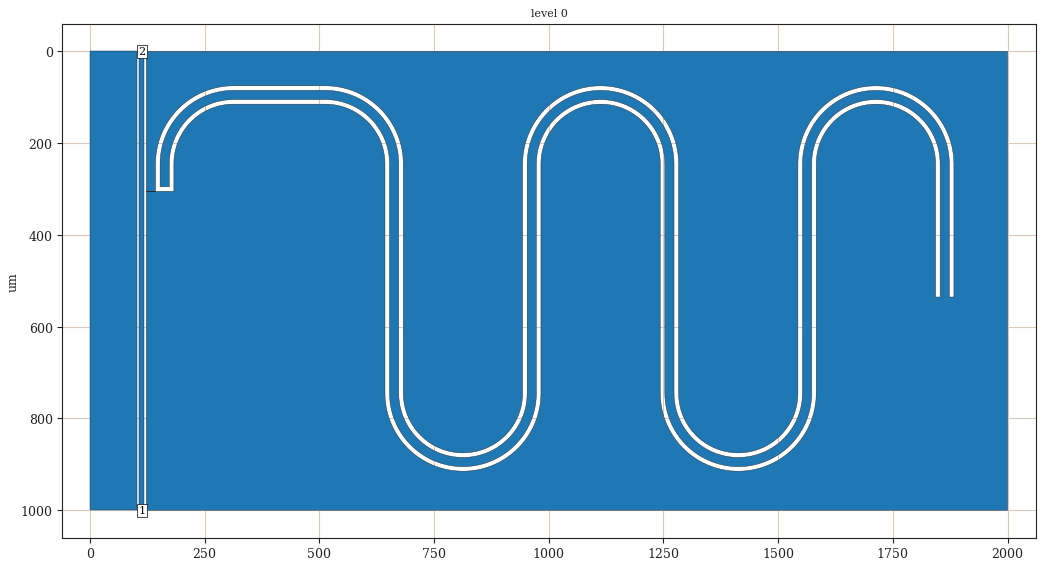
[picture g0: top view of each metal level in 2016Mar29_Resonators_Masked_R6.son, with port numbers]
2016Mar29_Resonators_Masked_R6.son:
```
FTYP SONPROJ 15 ! Sonnet Project File
VER 16.52
HEADER
LIC calt2.2.43068 b4ae2bd1247e DESKTOP-SL82IK9 Michael
DAT 04/05/2016 02:53:07
BUILT_BY_CREATED xgeom 16.52 03/26/2016 21:21:12
BUILT_BY_SAVED xgeom 16.52
MDATE 04/05/2016 02:53:07
HDATE 04/05/2016 02:52:58
END HEADER
DIM
FREQ GHZ
IND NH
LNG UM
ANG DEG
CON /OH
CAP PF
RES OH
END DIM
FREQ
ABS 5.8 6.0 
END FREQ
CONTROL
ABS
OPTIONS  -d 
SPEED 0
CACHE_ABS 1
TARG_ABS 300
Q_ACC N
DET_ABS_RES Y
END CONTROL
GEO
TMET "Lossless" 0 SUP 0 0 0 0
BMET "Lossless" 0 SUP 0 0 0 0
BOX 1 2001 1000 1334 500 20 0
      1000 1 1 0 0 0 0 "Air"
      500 11.9 1 5e-006 0 0 0 "Silicon (intrinsic)"
LORGN 0 1000 U 
POR1 STD
POLY 28 1
4
1 50 0 0 0 113 1000 
POR1 STD
POLY 28 1
1
2 50 0 0 0 113 3.938180912e-006 
NUM 3
0 8 -1 N 21 1 1 100 100 0 0 0 Y
103 905
103 905
103 905
103 -4.405170364e-006
-3.568185697e-005 -4.405170364e-006
-3.568185697e-005 1000
103 1000
103 905
END
0 1224 -1 N 27 1 1 100 100 0 0 0 Y
2000.000105 -3.489520145e-006
123 -3.489520145e-006
123 305
143 305
143 245
143.09 239.55
143.35 234.11
143.79 228.68
144.4 223.26
145.18 217.87
146.14 212.5
147.26 207.17
148.56 201.88
150.03 196.63
151.66 191.43
153.46 186.29
155.42 181.2
157.55 176.19
159.84 171.24
162.28 166.37
164.88 161.58
167.63 156.87
170.53 152.26
173.57 147.74
176.76 143.32
180.09 139.01
183.55 134.8
187.15 130.71
190.88 126.73
194.73 122.88
198.71 119.15
202.8 115.55
207.01 112.09
211.32 108.76
215.74 105.57
220.26 102.53
224.87 99.63
229.58 96.88
234.37 94.28
239.24 91.83
244.19 89.55
249.2 87.42
254.29 85.46
259.43 83.66
264.63 82.03
269.88 80.56
275.17 79.26
280.5 78.13
285.87 77.18
291.26 76.4
296.68 75.79
302.11 75.35
307.55 75.09
313 75
513 75
518.45 75.09
523.89 75.35
529.32 75.79
534.74 76.4
540.13 77.18
545.5 78.13
550.83 79.26
556.12 80.56
561.37 82.03
566.57 83.66
571.71 85.46
576.8 87.42
581.81 89.55
586.76 91.83
591.63 94.28
596.42 96.88
601.13 99.63
605.74 102.53
610.26 105.57
614.68 108.76
618.99 112.09
623.2 115.55
627.29 119.15
631.27 122.88
635.12 126.73
638.85 130.71
642.45 134.8
645.91 139.01
649.24 143.32
652.43 147.74
655.48 152.26
658.37 156.87
661.12 161.58
663.72 166.37
666.17 171.24
668.45 176.19
670.58 181.2
672.54 186.29
674.34 191.43
675.97 196.63
677.44 201.88
678.74 207.17
679.86 212.5
680.82 217.87
681.6 223.26
682.21 228.68
682.65 234.11
682.91 239.55
683 245
683 745
683.27 753.33
684.07 761.62
685.4 769.85
687.25 777.97
689.62 785.96
692.5 793.79
695.87 801.4
699.73 808.79
704.05 815.92
708.82 822.75
714.01 829.27
719.61 835.44
725.6 841.24
731.95 846.64
738.63 851.62
745.61 856.17
752.87 860.26
760.38 863.87
768.1 867
776.01 869.63
784.07 871.74
792.25 873.33
800.52 874.4
808.83 874.93
817.17 874.93
825.48 874.4
833.75 873.33
841.93 871.74
849.99 869.63
857.9 867
865.62 863.87
873.13 860.26
880.39 856.17
887.38 851.62
894.05 846.64
900.4 841.24
906.39 835.44
911.99 829.27
917.18 822.75
921.95 815.92
926.27 808.79
930.13 801.4
933.5 793.79
936.38 785.96
938.75 777.97
940.6 769.85
941.93 761.62
942.73 753.33
943 745
943 245
943.35 234.11
944.4 223.26
946.14 212.5
948.56 201.88
951.66 191.43
955.42 181.2
959.84 171.24
964.88 161.58
970.53 152.26
976.76 143.32
983.55 134.8
990.88 126.73
998.71 119.15
1007.01 112.09
1012.21 108.2
1015.74 105.57
1024.87 99.63
1034.37 94.28
1044.19 89.55
1054.29 85.46
1064.63 82.03
1075.17 79.26
1085.87 77.18
1096.68 75.79
1107.55 75.09
1118.45 75.09
1129.32 75.79
1140.13 77.18
1150.83 79.26
1161.37 82.03
1171.71 85.46
1181.81 89.55
1191.63 94.28
1201.13 99.63
1210.26 105.57
1218.99 112.09
1227.29 119.15
1235.12 126.73
1242.45 134.8
1249.24 143.32
1255.48 152.26
1261.12 161.58
1266.17 171.24
1270.58 181.2
1274.34 191.43
1277.44 201.88
1279.86 212.5
1281.6 223.26
1282.65 234.11
1283 245
1283 745
1283.27 753.33
1284.07 761.62
1285.4 769.85
1287.25 777.97
1289.62 785.96
1292.5 793.79
1295.87 801.4
1299.73 808.79
1304.05 815.92
1308.82 822.75
1314.01 829.27
1319.61 835.44
1325.6 841.24
1331.95 846.64
1338.63 851.62
1345.61 856.17
1352.87 860.26
1360.38 863.87
1368.1 867
1376.01 869.63
1384.07 871.74
1392.25 873.33
1400.52 874.4
1408.83 874.93
1417.17 874.93
1425.48 874.4
1433.75 873.33
1441.93 871.74
1449.99 869.63
1457.9 867
1465.62 863.87
1473.13 860.26
1480.39 856.17
1487.38 851.62
1494.05 846.64
1500.4 841.24
1506.39 835.44
1511.99 829.27
1517.18 822.75
1521.95 815.92
1526.27 808.79
1530.13 801.4
1533.5 793.79
1536.38 785.96
1538.75 777.97
1540.6 769.85
1541.93 761.62
1542.73 753.33
1543 745
1543 245
1543.35 234.11
1544.4 223.26
1546.14 212.5
1548.56 201.88
1551.66 191.43
1555.42 181.2
1559.84 171.24
1564.88 161.58
1570.53 152.26
1576.76 143.32
1583.55 134.8
1590.88 126.73
1598.71 119.15
1607.01 112.09
1615.74 105.57
1624.87 99.63
1634.37 94.28
1644.19 89.55
1654.29 85.46
1664.63 82.03
1675.17 79.26
1685.87 77.18
1696.68 75.79
1707.55 75.09
1718.45 75.09
1729.32 75.79
1740.13 77.18
1750.83 79.26
1761.37 82.03
1771.71 85.46
1781.81 89.55
1791.63 94.28
1801.13 99.63
1810.26 105.57
1818.99 112.09
1827.29 119.15
1835.12 126.73
1842.45 134.8
1849.24 143.32
1855.48 152.26
1861.12 161.58
1866.17 171.24
1870.58 181.2
1874.34 191.43
1877.44 201.88
1879.86 212.5
1881.6 223.26
1882.65 234.11
1883 245
1883 535.34
1873 535.34
1873 245
1872.67 234.75
1871.69 224.54
1870.05 214.41
1867.77 204.41
1864.85 194.58
1861.31 184.96
1857.15 175.58
1852.41 166.48
1847.09 157.71
1841.23 149.3
1834.83 141.28
1827.94 133.69
1820.57 126.56
1812.76 119.91
1804.54 113.77
1795.94 108.18
1787.01 103.14
1777.77 98.69
1768.26 94.84
1758.52 91.61
1748.6 89.01
1738.54 87.05
1728.36 85.74
1718.13 85.08
1707.87 85.08
1697.64 85.74
1687.46 87.05
1677.4 89.01
1667.48 91.61
1657.74 94.84
1648.23 98.69
1638.99 103.14
1630.06 108.18
1621.46 113.77
1613.24 119.91
1605.43 126.56
1598.06 133.69
1591.17 141.28
1584.77 149.3
1578.91 157.71
1573.59 166.48
1568.85 175.58
1564.69 184.96
1561.15 194.58
1558.23 204.41
1555.95 214.41
1554.31 224.54
1553.33 234.75
1553 245
1553 745
1552.71 753.97
1551.85 762.9
1550.42 771.76
1548.42 780.51
1545.87 789.11
1542.77 797.54
1539.14 805.74
1534.98 813.7
1530.33 821.37
1525.2 828.73
1519.6 835.75
1513.57 842.4
1507.12 848.64
1500.29 854.46
1493.1 859.82
1485.57 864.72
1477.76 869.12
1469.67 873.02
1461.35 876.39
1452.83 879.21
1444.15 881.49
1435.34 883.2
1426.44 884.35
1417.49 884.93
1408.51 884.93
1399.56 884.35
1390.66 883.2
1381.85 881.49
1373.17 879.21
1364.65 876.39
1356.33 873.02
1348.24 869.12
1340.43 864.72
1332.9 859.82
1325.71 854.46
1318.88 848.64
1312.43 842.4
1306.4 835.75
1300.8 828.73
1295.67 821.37
1291.02 813.7
1286.86 805.74
1283.23 797.54
1280.13 789.11
1277.58 780.51
1275.58 771.76
1274.15 762.9
1273.29 753.97
1273 745
1273 245
1272.67 234.75
1271.69 224.54
1270.05 214.41
1267.77 204.41
1264.85 194.58
1261.31 184.96
1257.15 175.58
1252.41 166.48
1247.09 157.71
1241.23 149.3
1234.83 141.28
1227.94 133.69
1220.57 126.56
1212.76 119.91
1204.54 113.77
1195.94 108.18
1187.01 103.14
1177.77 98.69
1168.26 94.84
1158.52 91.61
1148.6 89.01
1138.54 87.05
1128.36 85.74
1118.13 85.08
1107.87 85.08
1097.64 85.74
1087.46 87.05
1077.4 89.01
1067.48 91.61
1057.74 94.84
1048.23 98.69
1038.99 103.14
1030.06 108.18
1021.46 113.77
1013.24 119.91
1012.21 120.78
1005.43 126.56
998.06 133.69
991.17 141.28
984.77 149.3
978.91 157.71
973.59 166.48
968.85 175.58
964.69 184.96
961.15 194.58
958.23 204.41
955.95 214.41
954.31 224.54
953.33 234.75
953 245
953 745
952.71 753.97
951.85 762.9
950.42 771.76
948.42 780.51
945.87 789.11
942.77 797.54
939.14 805.74
934.98 813.7
930.33 821.37
925.2 828.73
919.6 835.75
913.57 842.4
907.12 848.64
900.29 854.46
893.1 859.82
885.57 864.72
877.76 869.12
869.67 873.02
861.35 876.39
852.83 879.21
844.15 881.49
835.34 883.2
826.44 884.35
817.49 884.93
808.51 884.93
799.56 884.35
790.66 883.2
781.85 881.49
773.17 879.21
764.65 876.39
756.33 873.02
748.24 869.12
740.43 864.72
732.9 859.82
725.71 854.46
718.88 848.64
712.43 842.4
706.4 835.75
700.8 828.73
695.67 821.37
691.02 813.7
686.86 805.74
683.23 797.54
680.13 789.11
677.58 780.51
675.58 771.76
674.15 762.9
673.29 753.97
673 745
673 245
672.92 239.87
672.67 234.75
672.26 229.64
671.69 224.54
670.95 219.46
670.05 214.41
668.99 209.4
667.77 204.41
666.39 199.48
664.85 194.58
663.15 189.74
661.31 184.96
659.31 180.23
657.15 175.58
654.86 170.99
652.41 166.48
649.82 162.06
647.09 157.71
644.23 153.46
641.23 149.3
638.09 145.24
634.83 141.28
631.44 137.43
627.94 133.69
624.31 130.06
620.57 126.56
616.72 123.17
612.76 119.91
608.7 116.77
604.54 113.77
600.29 110.91
595.94 108.18
591.52 105.59
587.01 103.14
582.42 100.84
577.77 98.69
573.04 96.69
568.26 94.84
563.42 93.15
558.52 91.61
553.59 90.23
548.6 89.01
543.59 87.95
538.54 87.05
533.46 86.31
528.36 85.74
523.25 85.33
518.13 85.08
513 85
313 85
307.87 85.08
302.75 85.33
297.64 85.74
292.54 86.31
287.46 87.05
282.42 87.95
277.4 89.01
272.42 90.23
267.48 91.61
262.58 93.15
257.74 94.84
252.96 96.69
248.24 98.69
243.58 100.84
238.99 103.14
234.49 105.59
230.06 108.18
225.71 110.91
221.46 113.77
217.3 116.77
213.24 119.91
209.28 123.17
205.43 126.56
201.69 130.06
198.06 133.69
194.56 137.43
191.17 141.28
187.91 145.24
184.77 149.3
181.77 153.46
178.91 157.71
176.18 162.06
173.59 166.48
171.14 170.99
168.85 175.58
166.69 180.23
164.69 184.96
162.85 189.74
161.15 194.58
159.61 199.48
158.23 204.41
157.01 209.4
155.95 214.41
155.05 219.46
154.31 224.54
153.74 229.64
153.33 234.75
153.08 239.87
153 245
153 295
173 295
173 245
173.07 240.51
173.29 236.03
173.65 231.56
174.15 227.1
174.8 222.66
175.58 218.24
176.51 213.85
177.58 209.49
178.79 205.17
180.13 200.88
181.61 196.65
183.23 192.46
184.98 188.33
186.86 184.26
188.88 180.24
191.01 176.3
193.28 172.42
195.67 168.62
198.18 164.9
200.8 161.26
203.54 157.71
206.4 154.25
209.36 150.88
212.43 147.6
215.6 144.43
218.88 141.36
222.25 138.4
225.71 135.54
229.26 132.8
232.9 130.18
236.63 127.67
240.43 125.28
244.3 123.01
248.24 120.88
252.26 118.86
256.33 116.98
260.46 115.23
264.65 113.61
268.89 112.13
273.17 110.79
277.49 109.58
281.85 108.51
286.24 107.58
290.66 106.8
295.1 106.15
299.56 105.65
304.03 105.29
308.51 105.07
313 105
513 105
517.49 105.07
521.97 105.29
526.44 105.65
530.9 106.15
535.34 106.8
539.76 107.58
544.15 108.51
548.51 109.58
552.83 110.79
557.11 112.13
561.35 113.61
565.54 115.23
569.67 116.98
573.74 118.86
577.76 120.88
581.7 123.01
585.57 125.28
589.38 127.67
593.1 130.18
596.73 132.8
600.29 135.54
603.75 138.4
607.12 141.36
610.4 144.43
613.57 147.6
616.64 150.88
619.6 154.25
622.46 157.71
625.2 161.26
627.82 164.9
630.33 168.62
632.72 172.42
634.98 176.3
637.12 180.24
639.14 184.26
641.02 188.33
642.77 192.46
644.39 196.65
645.87 200.88
647.21 205.17
648.42 209.49
649.49 213.85
650.42 218.24
651.2 222.66
651.85 227.1
652.35 231.56
652.71 236.03
652.93 240.51
653 245
653 745
653.33 755.25
654.31 765.46
655.95 775.58
658.23 785.58
661.15 795.42
664.69 805.04
668.85 814.42
673.59 823.51
678.91 832.29
684.77 840.7
691.17 848.72
698.06 856.31
705.43 863.44
713.24 870.09
721.46 876.23
730.06 881.82
738.99 886.86
748.23 891.31
757.74 895.15
767.48 898.39
777.4 900.99
787.46 902.95
797.64 904.26
807.87 904.92
818.13 904.92
828.36 904.26
838.54 902.95
848.6 900.99
858.52 898.39
868.26 895.15
877.77 891.31
887.01 886.86
895.94 881.82
904.54 876.23
912.76 870.09
920.57 863.44
927.94 856.31
934.83 848.72
941.23 840.7
947.09 832.29
952.41 823.51
957.15 814.42
961.31 805.04
964.85 795.42
967.77 785.58
970.05 775.58
971.69 765.46
972.67 755.25
973 745
973 245
973.29 236.03
974.15 227.1
975.58 218.24
977.58 209.49
980.13 200.88
983.23 192.46
986.86 184.26
991.02 176.3
995.67 168.62
1000.8 161.26
1006.4 154.25
1012.21 147.84
1012.43 147.6
1018.88 141.36
1025.71 135.54
1032.9 130.18
1040.43 125.28
1048.24 120.88
1056.33 116.98
1064.65 113.61
1073.17 110.79
1081.85 108.51
1090.66 106.8
1099.56 105.65
1108.51 105.07
1117.49 105.07
1126.44 105.65
1135.34 106.8
1144.15 108.51
1152.83 110.79
1161.35 113.61
1169.67 116.98
1177.76 120.88
1185.57 125.28
1193.1 130.18
1200.29 135.54
1207.12 141.36
1213.57 147.6
1219.6 154.25
1225.2 161.26
1230.33 168.62
1234.98 176.3
1239.14 184.26
1242.77 192.46
1245.87 200.88
1248.42 209.49
1250.42 218.24
1251.85 227.1
1252.71 236.03
1253 245
1253 745
1253.33 755.25
1254.31 765.46
1255.95 775.58
1258.23 785.58
1261.15 795.42
1264.69 805.04
1268.85 814.42
1273.59 823.51
1278.91 832.29
1284.77 840.7
1291.17 848.72
1298.06 856.31
1305.43 863.44
1313.24 870.09
1321.46 876.23
1330.06 881.82
1338.99 886.86
1348.23 891.31
1357.74 895.15
1367.48 898.39
1377.4 900.99
1387.46 902.95
1397.64 904.26
1407.87 904.92
1418.13 904.92
1428.36 904.26
1438.54 902.95
1448.6 900.99
1458.52 898.39
1468.26 895.15
1477.77 891.31
1487.01 886.86
1495.94 881.82
1504.54 876.23
1512.76 870.09
1520.57 863.44
1527.94 856.31
1534.83 848.72
1541.23 840.7
1547.09 832.29
1552.41 823.51
1557.15 814.42
1561.31 805.04
1564.85 795.42
1567.77 785.58
1570.05 775.58
1571.69 765.46
1572.67 755.25
1573 745
1573 245
1573.29 236.03
1574.15 227.1
1575.58 218.24
1577.58 209.49
1580.13 200.88
1583.23 192.46
1586.86 184.26
1591.02 176.3
1595.67 168.62
1600.8 161.26
1606.4 154.25
1612.43 147.6
1618.88 141.36
1625.71 135.54
1632.9 130.18
1640.43 125.28
1648.24 120.88
1656.33 116.98
1664.65 113.61
1673.17 110.79
1681.85 108.51
1690.66 106.8
1699.56 105.65
1708.51 105.07
1717.49 105.07
1726.44 105.65
1735.34 106.8
1744.15 108.51
1752.83 110.79
1761.35 113.61
1769.67 116.98
1777.76 120.88
1785.57 125.28
1793.1 130.18
1800.29 135.54
1807.12 141.36
1813.57 147.6
1819.6 154.25
1825.2 161.26
1830.33 168.62
1834.98 176.3
1839.14 184.26
1842.77 192.46
1845.87 200.88
1848.42 209.49
1850.42 218.24
1851.85 227.1
1852.71 236.03
1853 245
1853 535.34
1843 535.34
1843 245
1842.73 236.67
1841.93 228.38
1840.6 220.15
1838.75 212.02
1836.38 204.04
1833.5 196.21
1830.13 188.59
1826.27 181.21
1821.95 174.08
1817.18 167.25
1811.99 160.73
1806.39 154.56
1800.4 148.76
1794.05 143.36
1787.38 138.38
1780.39 133.83
1773.13 129.74
1765.62 126.13
1757.9 123
1749.99 120.37
1741.93 118.26
1733.75 116.67
1725.48 115.6
1717.17 115.07
1708.83 115.07
1700.52 115.6
1692.25 116.67
1684.07 118.26
1676.01 120.37
1668.1 123
1660.38 126.13
1652.87 129.74
1645.61 133.83
1638.63 138.38
1631.95 143.36
1625.6 148.76
1619.61 154.56
1614.01 160.73
1608.82 167.25
1604.05 174.08
1599.73 181.21
1595.87 188.59
1592.5 196.21
1589.62 204.04
1587.25 212.02
1585.4 220.15
1584.07 228.38
1583.27 236.67
1583 245
1583 745
1582.65 755.89
1581.6 766.74
1579.86 777.5
1577.44 788.12
1574.34 798.57
1570.58 808.8
1566.17 818.76
1561.12 828.42
1555.48 837.74
1549.24 846.68
1542.45 855.2
1535.12 863.27
1527.29 870.85
1518.99 877.91
1510.26 884.43
1501.13 890.37
1491.63 895.72
1481.81 900.45
1471.71 904.54
1461.37 907.97
1450.83 910.74
1440.13 912.82
1429.32 914.21
1418.45 914.91
1407.55 914.91
1396.68 914.21
1385.87 912.82
1375.17 910.74
1364.63 907.97
1354.29 904.54
1344.19 900.45
1334.37 895.72
1324.87 890.37
1315.74 884.43
1307.01 877.91
1298.71 870.85
1290.88 863.27
1283.55 855.2
1276.76 846.68
1270.53 837.74
1264.88 828.42
1259.84 818.76
1255.42 808.8
1251.66 798.57
1248.56 788.12
1246.14 777.5
1244.4 766.74
1243.35 755.89
1243 745
1243 245
1242.73 236.67
1241.93 228.38
1240.6 220.15
1238.75 212.02
1236.38 204.04
1233.5 196.21
1230.13 188.59
1226.27 181.21
1221.95 174.08
1217.18 167.25
1211.99 160.73
1206.39 154.56
1200.4 148.76
1194.05 143.36
1187.38 138.38
1180.39 133.83
1173.13 129.74
1165.62 126.13
1157.9 123
1149.99 120.37
1141.93 118.26
1133.75 116.67
1125.48 115.6
1117.17 115.07
1108.83 115.07
1100.52 115.6
1092.25 116.67
1084.07 118.26
1076.01 120.37
1068.1 123
1060.38 126.13
1052.87 129.74
1045.61 133.83
1038.63 138.38
1031.95 143.36
1025.6 148.76
1019.61 154.56
1014.01 160.73
1012.21 162.98
1008.82 167.25
1004.05 174.08
999.73 181.21
995.87 188.59
992.5 196.21
989.62 204.04
987.25 212.02
985.4 220.15
984.07 228.38
983.27 236.67
983 245
983 745
982.65 755.89
981.6 766.74
979.86 777.5
977.44 788.12
974.34 798.57
970.58 808.8
966.17 818.76
961.12 828.42
955.48 837.74
949.24 846.68
942.45 855.2
935.12 863.27
927.29 870.85
918.99 877.91
910.26 884.43
901.13 890.37
891.63 895.72
881.81 900.45
871.71 904.54
861.37 907.97
850.83 910.74
840.13 912.82
829.32 914.21
818.45 914.91
807.55 914.91
796.68 914.21
785.87 912.82
775.17 910.74
764.63 907.97
754.29 904.54
744.19 900.45
734.37 895.72
724.87 890.37
715.74 884.43
707.01 877.91
698.71 870.85
690.88 863.27
683.55 855.2
676.76 846.68
670.52 837.74
664.88 828.42
659.84 818.76
655.42 808.8
651.66 798.57
648.56 788.12
646.14 777.5
644.4 766.74
643.35 755.89
643 745
643 245
642.93 240.83
642.73 236.67
642.4 232.52
641.93 228.38
641.33 224.25
640.6 220.15
639.74 216.07
638.75 212.02
637.63 208.01
636.38 204.04
635 200.1
633.5 196.21
631.87 192.38
630.13 188.59
628.26 184.87
626.27 181.21
624.17 177.61
621.95 174.08
619.62 170.62
617.18 167.25
614.64 163.95
611.99 160.73
609.24 157.6
606.39 154.56
603.44 151.61
600.4 148.76
597.27 146.01
594.05 143.36
590.75 140.82
587.38 138.38
583.92 136.05
580.39 133.83
576.79 131.73
573.13 129.74
569.4 127.87
565.62 126.13
561.78 124.5
557.9 123
553.96 121.62
549.99 120.37
545.98 119.25
541.93 118.26
537.85 117.4
533.75 116.67
529.62 116.07
525.48 115.6
521.33 115.27
517.17 115.07
513 115
313 115
308.83 115.07
304.67 115.27
300.52 115.6
296.38 116.07
292.25 116.67
288.15 117.4
284.07 118.26
280.03 119.25
276.01 120.37
272.04 121.62
268.1 123
264.22 124.5
260.38 126.13
256.6 127.87
252.87 129.74
249.21 131.73
245.61 133.83
242.08 136.05
238.63 138.38
235.25 140.82
231.95 143.36
228.73 146.01
225.6 148.76
222.56 151.61
219.62 154.56
216.76 157.6
214.01 160.73
211.36 163.95
208.82 167.25
206.38 170.62
204.05 174.08
201.83 177.61
199.73 181.21
197.74 184.87
195.87 188.59
194.13 192.38
192.5 196.21
191 200.1
189.62 204.04
188.37 208.01
187.25 212.02
186.26 216.07
185.4 220.15
184.67 224.25
184.07 228.38
183.6 232.52
183.27 236.67
183.07 240.83
183 245
183 305
143 305
123 305
123 305
123 903
123 905
123 905
123 1000
2000.000105 1000
2000.000105 -3.489520145e-006
END
0 7 -1 N 28 1 1 100 100 0 0 0 Y
118 903
118 3.938180912e-006
108 3.938180912e-006
108 903
108 1000
118 1000
118 903
END
END GEO
OPT
MAX 100
VARS
END
END OPT
VARSWP
END VARSWP
QSG
IMPORT YES
EXTRA_METAL NO
UNITS NO
ALIGN NO
REF NO
VIEW_RES NO
METALS NO
USED NO
END QSG
```
